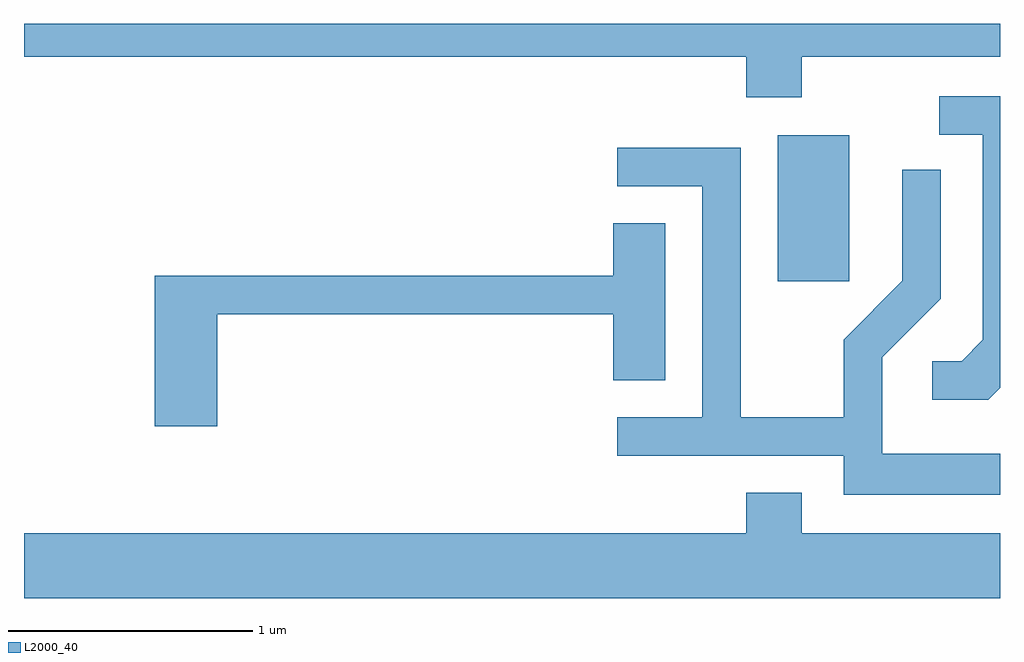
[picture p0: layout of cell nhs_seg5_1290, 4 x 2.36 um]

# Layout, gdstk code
import gdstk
lib = gdstk.Library(unit=1e-6, precision=1e-09)
def R(c, l, rs):  # rectangles x0, y0, x1, y1
    for r in rs: c.add(gdstk.rectangle(r[:2], r[2:], *l))
def P(c, l, *ps):  # polygons
    for p in ps: c.add(gdstk.Polygon(p, *l))
L2000_40 = (2000, 40)

nhs_seg5_1290 = lib.new_cell('nhs_seg5_1290')
R(nhs_seg5_1290, L2000_40, [(226.701,1427.016,226.994,1427.614)])
P(nhs_seg5_1290, L2000_40, [(226.799,1427.936),(227.611,1427.936),(227.611,1428.072),(223.611,1428.072),(223.611,1427.936),(226.571,1427.936),(226.571,1427.771),(226.799,1427.771)],
  [(227.611,1426.58),(227.611,1427.774),(227.363,1427.774),(227.363,1427.616),(227.541,1427.616),(227.541,1426.777),(227.454,1426.689),(227.333,1426.689),(227.333,1426.531),(227.562,1426.531)],
  [(227.611,1426.309),(227.129,1426.309),(227.129,1426.704),(227.369,1426.944),(227.369,1427.473),(227.211,1427.473),(227.211,1427.017),(226.971,1426.777),(226.971,1426.459),(226.549,1426.459),(226.549,1427.564),(226.043,1427.564),(226.043,1427.406),(226.391,1427.406),(226.391,1426.459),(226.043,1426.459),(226.043,1426.301),(226.971,1426.301),(226.971,1426.141),(227.611,1426.141)],
  [(224.404,1426.881),(226.026,1426.881),(226.026,1426.611),(226.239,1426.611),(226.239,1427.254),(226.026,1427.254),(226.026,1427.039),(224.146,1427.039),(224.146,1426.421),(224.404,1426.421)],
  [(227.611,1425.984),(226.799,1425.984),(226.799,1426.149),(226.571,1426.149),(226.571,1425.984),(223.611,1425.984),(223.611,1425.716),(227.611,1425.716)])

lib.write_gds('nhs_seg5_1290.gds')
